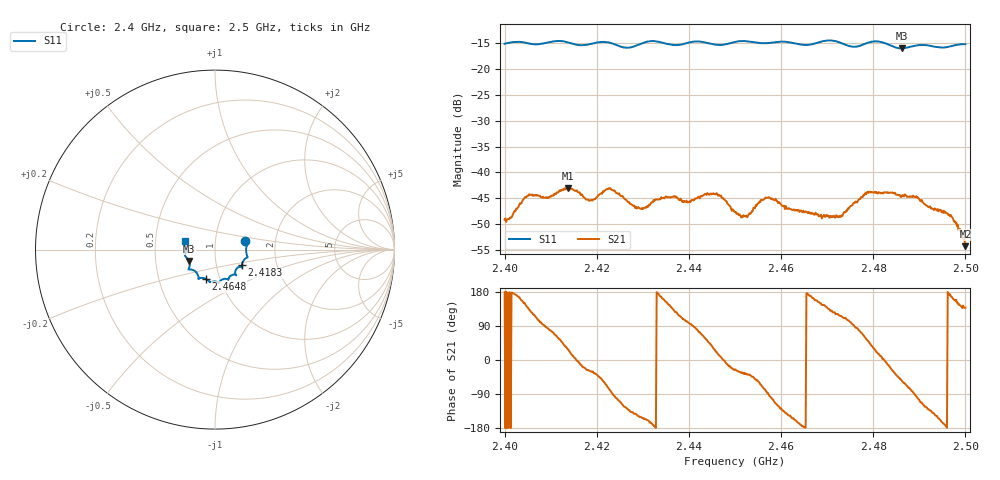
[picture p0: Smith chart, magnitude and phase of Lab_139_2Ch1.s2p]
# Hz S RI R 50
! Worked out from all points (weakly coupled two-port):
!   601 points, 2.4 GHz to 2.5 GHz, reference 50 ohm
!   highest |S21| = -42.98 dB at 2.4137 GHz (marker M1); lowest = -54.2 dB at 2.5 GHz (marker M2)
!   lowest |S11| = -16.0 dB at 2.4862 GHz (marker M3), VSWR 1.38, Z = 37.1 - j4.81 ohm
!   |S11| at or under -10 dB: start of sweep to end of sweep
!   S12 and S22 are empty: the file has one direction only
!   S11 on the Smith chart (normalised r, x): 2.4 GHz: 1.40, +0.13; 2.4183 GHz: 1.33, -0.24; 2.4648 GHz: 0.86, -0.29; 2.5 GHz: 0.71, +0.07
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2.4e9  0.1688 0.0459  -0.00351 6.66e-05  0 0  0 0
2.405e9  0.1759 0.0191  -0.00447 0.00392  0 0  0 0
2.409167e9  0.1768 -0.0287  0.000472 0.00564  0 0  0 0
2.413667e9  0.1749 -0.0461  0.00623 0.0034  0 0  0 0
2.416667e9  0.1548 -0.0685  0.00597 -0.00143  0 0  0 0
2.418333e9  0.1497 -0.0869  0.00469 -0.00253  0 0  0 0
2.422667e9  0.1505 -0.0986  0.00163 -0.00688  0 0  0 0
2.429167e9  0.1125 -0.1302  -0.00389 -0.00236  0 0  0 0
2.433333e9  0.1166 -0.1412  -0.00546 0.000423  0 0  0 0
2.439833e9  0.0761 -0.1622  -0.000828 0.00509  0 0  0 0
2.445667e9  0.056 -0.1625  0.00555 0.00274  0 0  0 0
2.45e9  0.0251 -0.1806  0.00376 -0.00172  0 0  0 0
2.4525e9  0.0197 -0.1843  0.00301 -0.00237  0 0  0 0
2.457167e9  -0.0111 -0.1774  0.000274 -0.00569  0 0  0 0
2.464833e9  -0.0514 -0.163  -0.00424 -0.0003  0 0  0 0
2.466667e9  -0.0715 -0.1575  -0.00391 0.00105  0 0  0 0
2.472833e9  -0.092 -0.1541  -0.0017 0.00342  0 0  0 0
2.478667e9  -0.1391 -0.1108  0.00384 0.00519  0 0  0 0
2.483333e9  -0.1423 -0.0959  0.00616 -0.00149  0 0  0 0
2.486167e9  -0.1448 -0.0632  0.00344 -0.0048  0 0  0 0
2.4965e9  -0.1626 0.0223  -0.00388 0.000524  0 0  0 0
2.5e9  -0.1667 0.0472  -0.00144 0.0013  0 0  0 0
